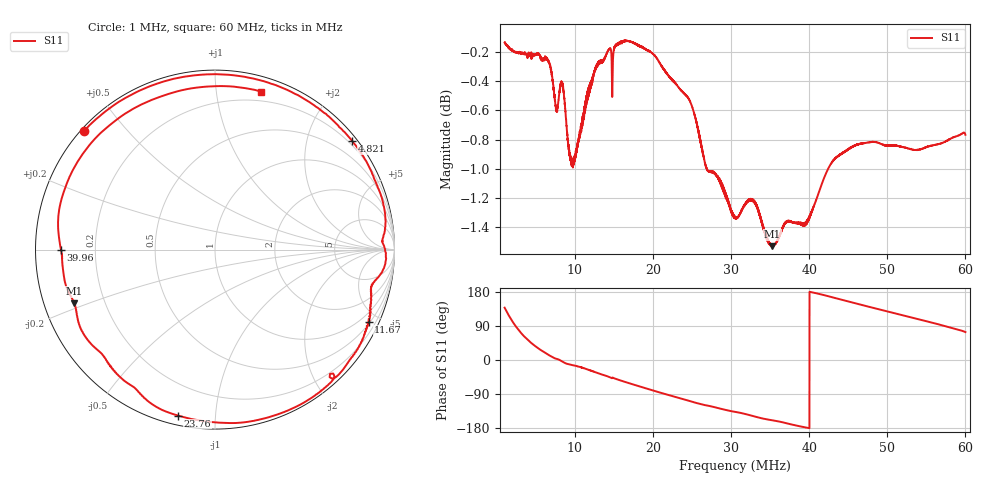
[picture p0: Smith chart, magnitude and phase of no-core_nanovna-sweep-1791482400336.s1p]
! NanoVNA Web complex sweep
! Processing: unaveraged complex samples; linear segment spacing; no smoothing
# Hz S RI R 50
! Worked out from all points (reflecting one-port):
!   5050 points, 1 MHz to 60 MHz, reference 50 ohm
!   lowest |S11| = -1.5 dB at 35.28 MHz (marker M1), VSWR 11.40, Z = 4.53 - j9.14 ohm
!   phase of S11 starts at 138 deg and turns -424 deg over the sweep
!   S11 on the Smith chart (normalised r, x): 1 MHz: 0.01, +0.38; 4.821 MHz: 0.12, +2.88; 11.67 MHz: 0.57, -4.40; 23.76 MHz: 0.04, -0.80; 39.96 MHz: 0.08, -0.00; 60 MHz: 0.12, +1.33
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1000000  -0.7316 0.6589
1257070  -0.6032 0.7755
1782895  -0.3176 0.9262
2495680  0.0515 0.9759
3056560  0.2946 0.931
3617440  0.4888 0.8445
4820995  0.7657 0.6035
6456895  0.9362 0.2619
8384920  0.9501 -0.0681
9541735  0.8747 -0.2009
1.16684e7  0.8557 -0.4034
1.441438e7  0.694 -0.6912
1.575816e7  0.586 -0.7907
1.947398e7  0.2178 -0.9539
2.313139e7  -0.1483 -0.9399
2.376238e7  -0.2067 -0.9245
2.607601e7  -0.4044 -0.817
3.050462e7  -0.6256 -0.5868
3.31688e7  -0.7507 -0.4339
3.528379e7  -0.7836 -0.2991
3.787786e7  -0.8436 -0.1367
3.995779e7  -0.8577 -0.00411
4.262197e7  -0.8717 0.1957
4.52511e7  -0.809 0.4086
4.89085e7  -0.6286 0.6575
5.262433e7  -0.3749 0.8247
5.651544e7  -0.0686 0.9063
5.999756e7  0.2584 0.8784
